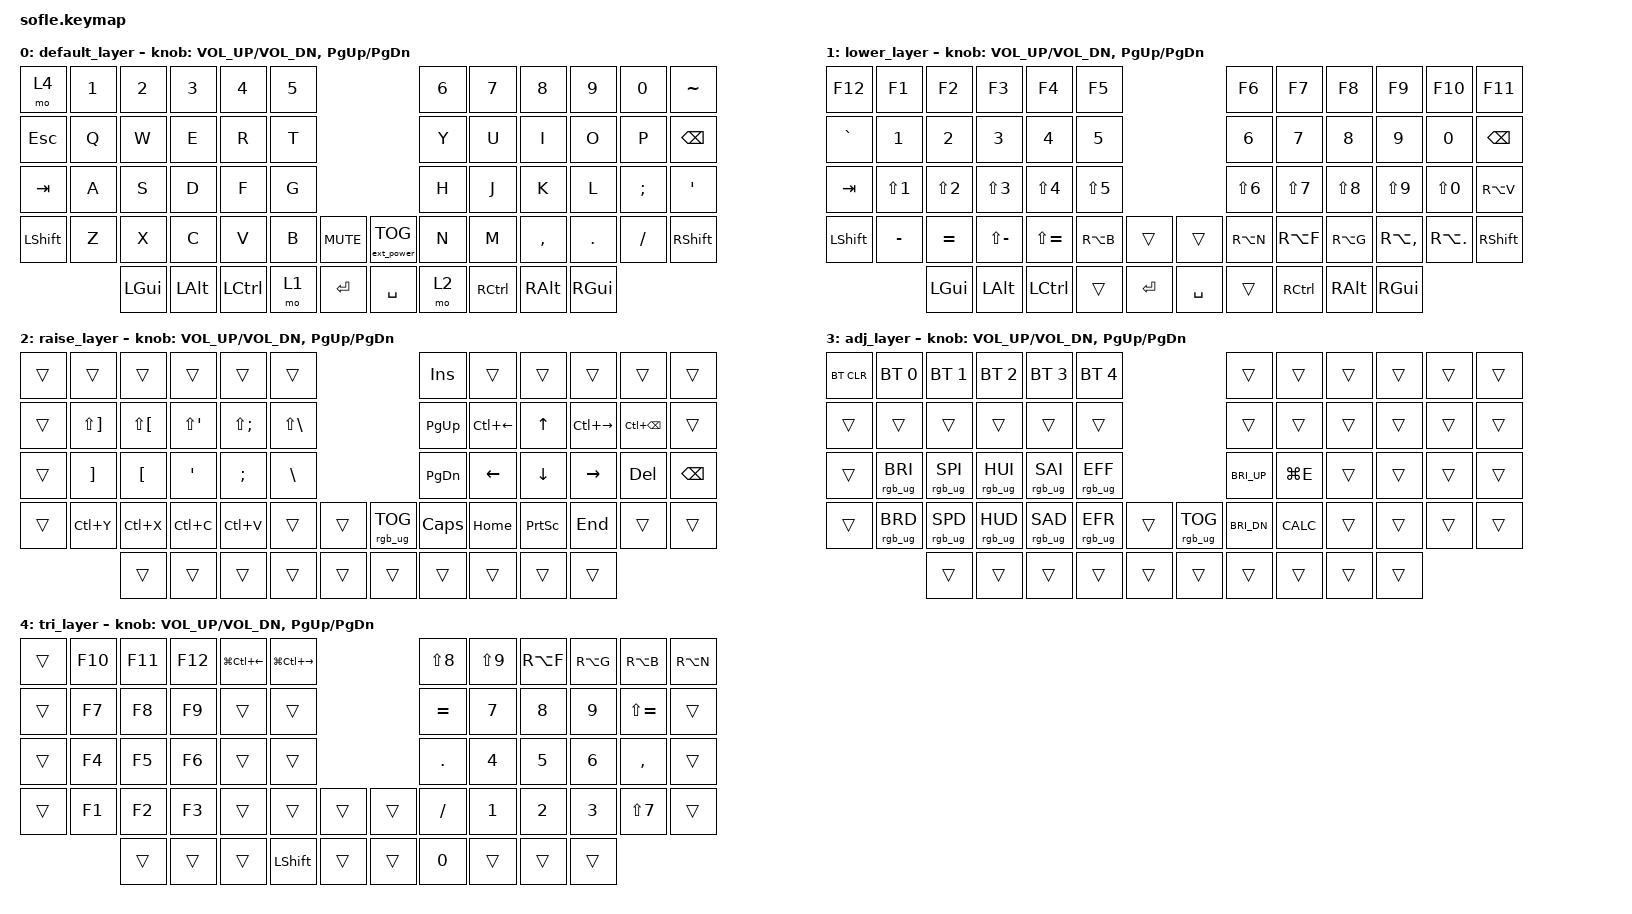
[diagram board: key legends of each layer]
/*
 * Copyright (c) 2020 The ZMK Contributors
 *
 * SPDX-License-Identifier: MIT
 */

#include <behaviors.dtsi>
#include <dt-bindings/zmk/keys.h>
#include <dt-bindings/zmk/bt.h>
#include <dt-bindings/zmk/ext_power.h>
#include <dt-bindings/zmk/rgb.h>

/*
 * Temporarily here because nice nano v2 spi is not defined on ZMK Yet
 * Source: https://github.com/zmkfirmware/zmk/blob/main/app/boards/shields/reviung41/boards/nice_nano.overlay
 * GitHub Issue: https://github.com/zmkfirmware/zmk/issues/885
 */

#include <dt-bindings/led/led.h>

&pinctrl {
    spi3_default: spi3_default {
        group1 {
            psels = <NRF_PSEL(SPIM_MOSI, 0, 8)>;
        };
    };

    spi3_sleep: spi3_sleep {
        group1 {
            psels = <NRF_PSEL(SPIM_MOSI, 0, 8)>;
            low-power-enable;
        };
    };
};

&spi3 {
    compatible = "nordic,nrf-spim";
    status = "okay";

    pinctrl-0 = <&spi3_default>;
    pinctrl-1 = <&spi3_sleep>;
    pinctrl-names = "default", "sleep";

    led_strip: ws2812@0 {
        compatible = "worldsemi,ws2812-spi";
        label = "WS2812";

        /* SPI */
        reg = <0>; /* ignored, but necessary for SPI bindings */
        spi-max-frequency = <4000000>;

        /* WS2812 */
        chain-length = <30>;
        spi-one-frame = <0x70>;
        spi-zero-frame = <0x40>;

        color-mapping = <LED_COLOR_ID_GREEN LED_COLOR_ID_RED LED_COLOR_ID_BLUE>;
    };
};

/ {
    chosen {
        zmk,underglow = &led_strip;
    };
};

/* END temporary RGB support section */


/ {
    conditional_layers {
        compatible = "zmk,conditional-layers";
        adj_layer {
            if-layers = <1 2>;
            then-layer = <3>;
        };
    };
    keymap {
        compatible = "zmk,keymap";

        default_layer {
// ------------------------------------------------------------------------------------------------------------------
// |  `    |  1  |  2  |  3   |  4   |  5   |                         |  6   |  7    |  8    |  9   |   0   |   ~   |
// |  ESC  |  Q  |  W  |  E   |  R   |  T   |                         |  Y   |  U    |  I    |  O   |   P   | BKSPC |
// |  TAB  |  A  |  S  |  D   |  F   |  G   |                         |  H   |  J    |  K    |  L   |   ;   |   '   |
// | SHIFT |  Z  |  X  |  C   |  V   |  B   |  MUTE  |        | ExtPw |  N   |  M    |  ,    |  .   |   /   | SHIFT |
//               | GUI | ALT  | CTRL | LOWER|  ENTER |        | SPACE | RAISE| CTRL  | ALT   | GUI  |
            bindings = <
&mo 4     &kp N1 &kp N2   &kp N3   &kp N4    &kp N5                              &kp N6 &kp N7    &kp N8    &kp N9   &kp N0   &kp TILDE
&kp ESC   &kp Q  &kp W    &kp E    &kp R     &kp T                               &kp Y  &kp U     &kp I     &kp O    &kp P    &kp BSPC
&kp TAB   &kp A  &kp S    &kp D    &kp F     &kp G                               &kp H  &kp J     &kp K     &kp L    &kp SEMI &kp SQT
&kp LSHFT &kp Z  &kp X    &kp C    &kp V     &kp B  &kp C_MUTE &ext_power EP_TOG &kp N  &kp M     &kp COMMA &kp DOT  &kp FSLH &kp RSHFT
                 &kp LGUI &kp LALT &kp LCTRL &mo 1  &kp RET    &kp SPACE         &mo 2  &kp RCTRL &kp RALT  &kp RGUI
            >;

            sensor-bindings = <&inc_dec_kp C_VOL_UP C_VOL_DN &inc_dec_kp PG_UP PG_DN>;
        };

        lower_layer {
// TODO: Some binds are waiting for shifted keycode support.
// ------------------------------------------------------------------------------------------------------------
// | F12   |  F1 |  F2 |  F3  |  F4  |  F5  |                   |  F6  |  F7   |  F8   |  F9  |  F10  |  F11  |
// | `     |   1 |   2 |   3  |   4  |   5  |                   |   6  |   7   |   8   |   9  |    0  | BKSPC |
// | TAB   |  !  |  "  |  #   |  $   |  %   |                   |  &   |  /    |  (    |  )   |   =   |   @   |
// | SHIFT |  '  |  +  |  ?   |  *   |  {   |        |  |       |  }   |  [    |  ]    |  <   |   >   | SHIFT |
//               | GUI | ALT  | CTRL |      |  ENTER |  | SPACE |      | CTRL  | ALT   | GUI  |
            bindings = <
&kp F12   &kp F1      &kp F2      &kp F3          &kp F4           &kp F5                        &kp F6      &kp F7     &kp F8          &kp F9        &kp F10     &kp F11
&kp GRAVE &kp N1      &kp N2      &kp N3          &kp N4           &kp N5                        &kp N6      &kp N7     &kp N8          &kp N9        &kp N0      &kp BSPC
&kp TAB   &kp LS(N1)  &kp LS(N2)  &kp LS(N3)      &kp LS(N4)       &kp LS(N5)                    &kp LS(N6)  &kp LS(N7) &kp LS(N8)      &kp LS(N9)    &kp LS(N0)  &kp RA(V)
&kp LSHFT &kp MINUS   &kp EQUAL   &kp LS(MINUS)   &kp LS(EQUAL)    &kp RA(B)  &trans   &trans    &kp RA(N)   &kp RA(F)  &kp RA(G)       &kp RA(COMMA) &kp RA(DOT) &kp RSHFT
                      &kp LGUI    &kp LALT        &kp LCTRL        &trans     &kp RET  &kp SPACE &trans      &kp RCTRL  &kp RALT        &kp RGUI
            >;

            sensor-bindings = <&inc_dec_kp C_VOL_UP C_VOL_DN &inc_dec_kp PG_UP PG_DN>;
        };

        raise_layer {
// ------------------------------------------------------------------------------------------------------------
// |     |      |      |       |       |      |                 | INS  |      |       |      |       |       |
// |     | Đ    | Š    | Ć     | Č     | Ž    |                 | PGUP | PWRD |   ^   | NWRD |  DWORD| BKSPC |
// |     | đ    | š    | ć     | č     | ž    |                 | PGDN |   <- |   v   |  ->  |  DEL  | BKSPC |
// |     | UNDO | CUT  | COPY  | PASTE |      |      |   | RGB  | CAPS | HOME |  PSCR | END  |       |       |
//              |      |       |       |      |      |   |      |      |      |       |      |
            bindings = <
&trans     &trans       &trans       &trans       &trans       &trans                            &kp INS   &trans          &trans      &trans           &trans        &trans
&trans     &kp LS(RBKT) &kp LS(LBKT) &kp LS(SQT)  &kp LS(SEMI) &kp LS(BSLH)                      &kp PG_UP &kp LC(LEFT)    &kp UP      &kp LC(RIGHT)    &kp LC(BSPC)  &trans
&trans     &kp RBKT     &kp LBKT     &kp SQT      &kp SEMI     &kp BSLH                          &kp PG_DN &kp LEFT        &kp DOWN    &kp RIGHT        &kp DEL       &kp BSPC
&trans     &kp LC(Y)    &kp LC(X)    &kp LC(C)    &kp LC(V)    &trans       &trans   &rgb_ug RGB_TOG  &kp CLCK  &kp HOME        &kp PSCRN   &kp END          &trans        &trans
                        &trans       &trans       &trans       &trans       &trans   &trans           &trans    &trans          &trans      &trans
            >;

            sensor-bindings = <&inc_dec_kp C_VOL_UP C_VOL_DN &inc_dec_kp PG_UP PG_DN>;
        };

        adj_layer {
// ------------------------------------------------------------------------------------------------------------
// |BTCLR| BT1  | BT2  |  BT3  |  BT4  |  BT5 |                 |      |      |       |      |       |       |
// |     |      |      |       |       |      |                 |      |      |       |      |       |       |
// |     |RGB_BI|RGB_SI|RGB_HI |RGB_SAI|RGB_CF|                 |BR-UP |MY_COM|       |      |       |       |
// |     |RGB_BD|RGB_SD|RGB_HD |RGB_SAD|RGB_CR|      |   | RGB  |BR-DOW| CALC |       |      |       |       |
//              |      |       |       |      |      |   |      |      |      |       |      |
            bindings = <
&bt BT_CLR &bt BT_SEL 0     &bt BT_SEL 1    &bt BT_SEL 2     &bt BT_SEL 3     &bt BT_SEL 4                                 &trans       &trans       &trans   &trans    &trans  &trans
&trans     &trans           &trans          &trans           &trans           &trans                                       &trans       &trans       &trans   &trans    &trans  &trans
&trans     &rgb_ug RGB_BRI  &rgb_ug RGB_SPI &rgb_ug RGB_HUI  &rgb_ug RGB_SAI  &rgb_ug RGB_EFF                              &kp C_BRI_UP &kp LG(E)    &trans   &trans    &trans  &trans
&trans     &rgb_ug RGB_BRD  &rgb_ug RGB_SPD &rgb_ug RGB_HUD  &rgb_ug RGB_SAD  &rgb_ug RGB_EFR    &trans   &rgb_ug RGB_TOG  &kp C_BRI_DN &kp K_CALC   &trans   &trans    &trans  &trans
                            &trans          &trans           &trans           &trans             &trans   &trans           &trans       &trans       &trans   &trans
            >;

            sensor-bindings = <&inc_dec_kp C_VOL_UP C_VOL_DN &inc_dec_kp PG_UP PG_DN>;
        };

        tri_layer {
// ------------------------------------------------------------------------------------------------------------
// |     | F10  | F11  |  F12  |VDSK_L |VDSK_R|                 |  (   |   )  |   [   |   ]  |   {   |   }   |
// |     | F7   | F8   |  F9   |       |      |                 |  +   |   7  |   8   |   9  |   *   |       |
// |     | F4   | F5   |  F6   |       |      |                 |  .   |   4  |   5   |   6  |   ,   |       |
// |     | F1   | F2   |  F3   |       |      |      |   |      |  -   |   1  |   2   |   3  |   /   |       |
//              |      |       |       |      |      |   |      |  0   |      |       |      |
            bindings = <
&trans     &kp F10      &kp F11      &kp F12      &kp LG(LC(LEFT)) &kp LG(LC(RIGHT))                       &kp LS(N8)    &kp LS(N9)   &kp RA(F)  &kp RA(G)    &kp RA(B)      &kp RA(N)
&trans     &kp F7       &kp F8       &kp F9       &trans           &trans                                  &kp EQUAL     &kp N7       &kp N8     &kp N9       &kp LS(EQUAL)  &trans
&trans     &kp F4       &kp F5       &kp F6       &trans           &trans                                  &kp DOT       &kp N4       &kp N5     &kp N6       &kp COMMA      &trans
&trans     &kp F1       &kp F2       &kp F3       &trans           &trans             &trans   &trans      &kp FSLH      &kp N1       &kp N2     &kp N3       &kp LS(N7)     &trans
                        &trans       &trans       &trans           &kp LSHFT          &trans   &trans      &kp N0        &trans       &trans     &trans
            >;

            sensor-bindings = <&inc_dec_kp C_VOL_UP C_VOL_DN &inc_dec_kp PG_UP PG_DN>;
        };
    };
};
